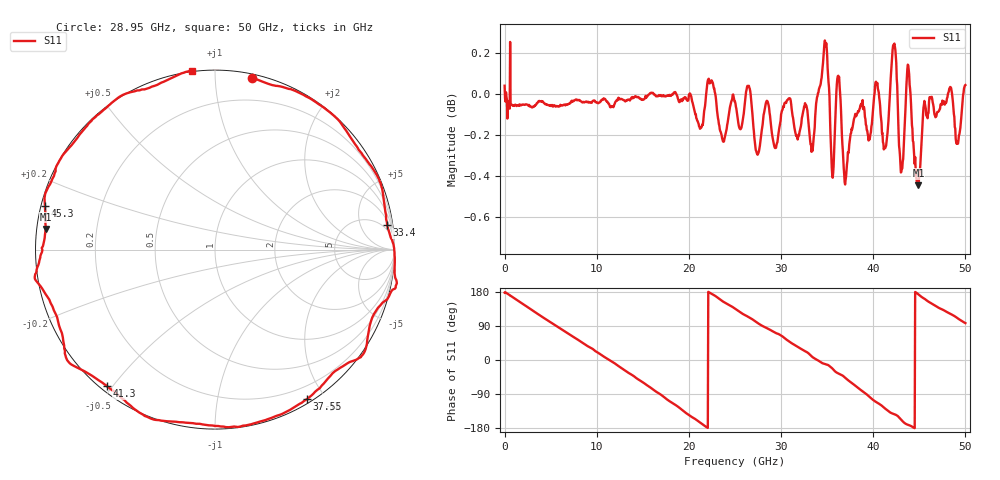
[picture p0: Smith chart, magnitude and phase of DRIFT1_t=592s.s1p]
!Created with skrf (http://scikit-rf.org).
# Hz S RI R 50.0
!freq ReS11 ImS11
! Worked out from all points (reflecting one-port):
!   1001 points, 300 kHz to 50 GHz, reference 50 ohm
!   lowest |S11| = -0.4 dB at 44.9 GHz (marker M1), VSWR 39.08, Z = 1.28 + j3.03 ohm
!   phase of S11 starts at 178 deg and turns -800 deg over the sweep
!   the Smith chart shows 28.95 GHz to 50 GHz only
!   S11 on the Smith chart (normalised r, x): 28.95 GHz: 0.02, +1.24; 33.4 GHz: 3, +14; 37.55 GHz: 0.05, -1.79; 41.3 GHz: 0.02, -0.48; 45.3 GHz: 0.01, +0.13; 50 GHz: -0.00, +0.88
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300000  -1.004 0.0392
1.75029e9  -0.8743 0.4728
3.600278e9  -0.5214 0.8479
6.250262e9  0.1754 0.9779
7.950252e9  0.5922 0.8015
9.850241e9  0.9139 0.3945
1.250022e10  0.9461 -0.3154
1.395022e10  0.7477 -0.6609
1.59002e10  0.2739 -0.9625
1.875019e10  -0.5312 -0.8456
2.020018e10  -0.8546 -0.518
2.205017e10  -1.008 -0.013
2.500015e10  -0.7136 0.6945
2.660014e10  -0.37 0.9322
2.895013e10  0.2072 0.9584
3.125011e10  0.7236 0.6724
3.34001e10  0.959 0.1356
3.500009e10  0.9981 -0.2194
3.750008e10  0.5215 -0.8259
3.755007e10  0.5116 -0.8336
3.910007e10  0.0478 -0.986
4.130005e10  -0.6018 -0.761
4.245005e10  -0.8327 -0.5906
4.375004e10  -1.004 -0.1623
4.490003e10  -0.9432 0.1146
4.530003e10  -0.9475 0.245
4.715002e10  -0.7258 0.6742
5e10  -0.1284 0.9968
